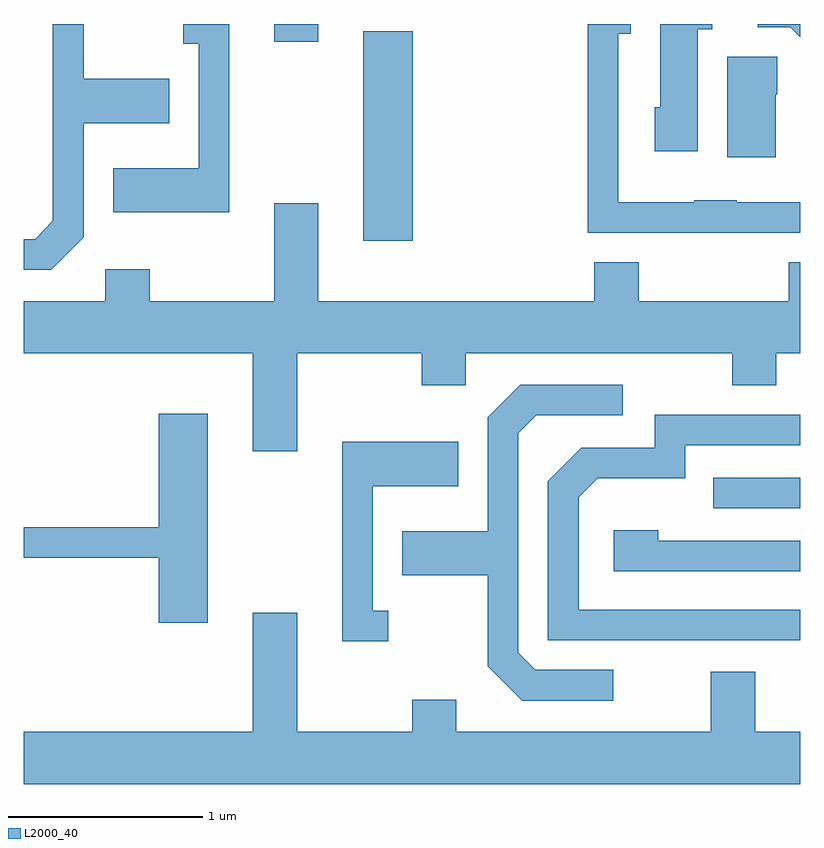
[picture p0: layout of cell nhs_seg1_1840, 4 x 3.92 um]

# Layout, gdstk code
import gdstk
lib = gdstk.Library(unit=1e-6, precision=1e-09)
def R(c, l, rs):  # rectangles x0, y0, x1, y1
    for r in rs: c.add(gdstk.rectangle(r[:2], r[2:], *l))
def P(c, l, *ps):  # polygons
    for p in ps: c.add(gdstk.Polygon(p, *l))
L2000_40 = (2000, 40)

nhs_seg1_1840 = lib.new_cell('nhs_seg1_1840')
R(nhs_seg1_1840, L2000_40, [(245.163,903.216,245.611,903.374), (243.361,904.596,243.614,905.674), (242.901,905.621,243.129,905.712)])
P(nhs_seg1_1840, L2000_40, [(241.919,904.614),(241.919,905.201),(242.359,905.201),(242.359,905.429),(241.919,905.429),(241.919,905.712),(241.761,905.712),(241.761,904.697),(241.669,904.604),(241.611,904.604),(241.611,904.446),(241.752,904.446)],
  [(245.611,904.794),(245.285,904.794),(245.285,904.804),(245.065,904.804),(245.065,904.794),(244.674,904.794),(244.674,905.661),(244.739,905.661),(244.739,905.712),(244.516,905.712),(244.516,904.636),(245.611,904.636)],
  [(245.611,905.712),(245.393,905.712),(245.393,905.696),(245.559,905.696),(245.611,905.644)],
  [(245.084,905.686),(245.159,905.686),(245.159,905.712),(244.891,905.712),(244.891,905.284),(244.861,905.284),(244.861,905.056),(245.084,905.056)],
  [(242.669,905.712),(242.433,905.712),(242.433,905.611),(242.511,905.611),(242.511,904.969),(242.071,904.969),(242.071,904.741),(242.669,904.741)],
  [(245.484,905.35),(245.494,905.35),(245.494,905.544),(245.236,905.544),(245.236,905.026),(245.484,905.026)],
  [(245.261,903.851),(245.489,903.851),(245.489,904.016),(245.611,904.016),(245.611,904.484),(245.551,904.484),(245.551,904.284),(244.779,904.284),(244.779,904.484),(244.551,904.484),(244.551,904.284),(243.129,904.284),(243.129,904.789),(242.901,904.789),(242.901,904.284),(242.259,904.284),(242.259,904.449),(242.031,904.449),(242.031,904.284),(241.611,904.284),(241.611,904.016),(242.791,904.016),(242.791,903.511),(243.019,903.511),(243.019,904.016),(243.661,904.016),(243.661,903.851),(243.889,903.851),(243.889,904.016),(245.261,904.016)],
  [(244.648,902.384),(244.247,902.384),(244.159,902.472),(244.159,903.604),(244.252,903.696),(244.698,903.696),(244.698,903.854),(244.169,903.854),(244.001,903.687),(244.001,903.099),(243.561,903.099),(243.561,902.871),(244.001,902.871),(244.001,902.404),(244.179,902.226),(244.648,902.226)],
  [(242.559,903.704),(242.306,903.704),(242.306,903.119),(241.611,903.119),(241.611,902.961),(242.306,902.961),(242.306,902.626),(242.559,902.626)],
  [(245.611,902.694),(244.469,902.694),(244.469,903.274),(244.567,903.371),(245.019,903.371),(245.019,903.541),(245.611,903.541),(245.611,903.699),(244.861,903.699),(244.861,903.529),(244.484,903.529),(244.311,903.357),(244.311,902.536),(245.611,902.536)],
  [(243.488,902.689),(243.409,902.689),(243.409,903.331),(243.849,903.331),(243.849,903.559),(243.251,903.559),(243.251,902.531),(243.488,902.531)],
  [(245.611,903.049),(244.879,903.049),(244.879,903.104),(244.651,903.104),(244.651,902.891),(245.611,902.891)],
  [(245.611,902.064),(245.379,902.064),(245.379,902.374),(245.151,902.374),(245.151,902.064),(243.839,902.064),(243.839,902.229),(243.611,902.229),(243.611,902.064),(243.019,902.064),(243.019,902.679),(242.791,902.679),(242.791,902.064),(241.611,902.064),(241.611,901.796),(245.611,901.796)])

lib.write_gds('nhs_seg1_1840.gds')
